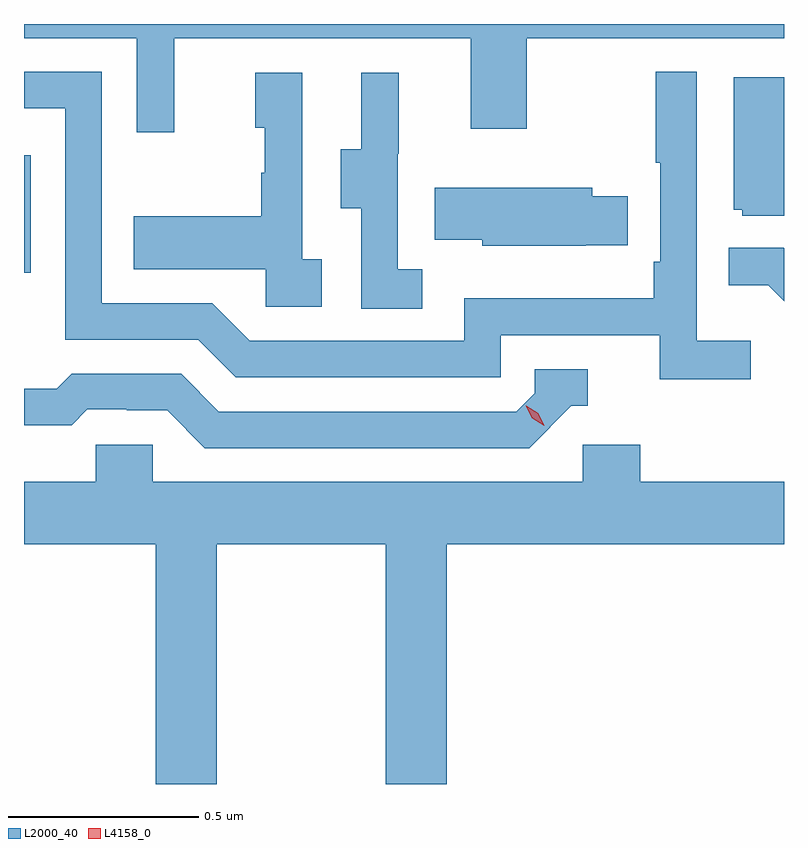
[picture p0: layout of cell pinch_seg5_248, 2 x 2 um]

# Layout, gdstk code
import gdstk
lib = gdstk.Library(unit=1e-6, precision=1e-09)
def R(c, l, rs):  # rectangles x0, y0, x1, y1
    for r in rs: c.add(gdstk.rectangle(r[:2], r[2:], *l))
def P(c, l, *ps):  # polygons
    for p in ps: c.add(gdstk.Polygon(p, *l))
L2000_40 = (2000, 40)
L4158_0 = (4158, 0)

pinch_seg5_248 = lib.new_cell('pinch_seg5_248')
R(pinch_seg5_248, L2000_40, [(938.478,914.751,938.496,915.06)])
P(pinch_seg5_248, L2000_40, [(938.873,915.368),(939.653,915.368),(939.653,915.129),(939.801,915.129),(939.801,915.368),(940.478,915.368),(940.478,915.405),(938.478,915.405),(938.478,915.368),(938.775,915.368),(938.775,915.12),(938.873,915.12)],
  [(940.39,914.572),(940.248,914.572),(940.248,915.28),(940.14,915.28),(940.14,915.04),(940.152,915.04),(940.152,914.779),(940.135,914.779),(940.135,914.683),(939.636,914.683),(939.636,914.571),(939.072,914.571),(938.973,914.67),(938.682,914.67),(938.682,915.279),(938.478,915.279),(938.478,915.183),(938.586,915.183),(938.586,914.574),(938.936,914.574),(939.035,914.475),(939.732,914.475),(939.732,914.586),(940.151,914.586),(940.151,914.47),(940.39,914.47)],
  [(939.262,914.786),(939.21,914.786),(939.21,915.277),(939.086,915.277),(939.086,915.132),(939.112,915.132),(939.112,915.014),(939.102,915.014),(939.102,914.899),(938.767,914.899),(938.767,914.759),(939.114,914.759),(939.114,914.661),(939.262,914.661)],
  [(939.526,914.759),(939.462,914.759),(939.462,915.063),(939.464,915.063),(939.464,915.277),(939.365,915.277),(939.365,915.075),(939.311,915.075),(939.311,914.92),(939.366,914.92),(939.366,914.656),(939.526,914.656)],
  [(940.478,915.265),(940.346,915.265),(940.346,914.916),(940.368,914.916),(940.368,914.901),(940.478,914.901)],
  [(939.956,914.823),(940.067,914.823),(940.067,914.952),(939.973,914.952),(939.973,914.974),(939.559,914.974),(939.559,914.837),(939.684,914.837),(939.684,914.822),(939.956,914.822)],
  [(940.478,914.815),(940.477,914.816),(940.333,914.816),(940.333,914.717),(940.437,914.717),(940.478,914.676)],
  [(939.918,914.4),(939.961,914.4),(939.961,914.496),(939.822,914.496),(939.822,914.433),(939.774,914.385),(938.991,914.385),(938.892,914.484),(938.603,914.484),(938.564,914.445),(938.478,914.445),(938.478,914.349),(938.603,914.349),(938.645,914.391),(938.748,914.391),(938.748,914.388),(938.855,914.388),(938.954,914.289),(939.807,914.289)],
  [(938.985,914.036),(939.43,914.036),(939.43,913.405),(939.59,913.405),(939.59,914.036),(940.478,914.036),(940.478,914.2),(940.1,914.2),(940.1,914.298),(939.948,914.298),(939.948,914.2),(938.817,914.2),(938.817,914.298),(938.667,914.298),(938.667,914.2),(938.478,914.2),(938.478,914.036),(938.825,914.036),(938.825,913.405),(938.985,913.405)])
P(pinch_seg5_248, L4158_0, [(939.847,914.348),(939.816,914.368),(939.799,914.401),(939.799,914.401),(939.8,914.401),(939.831,914.381),(939.847,914.349),(939.847,914.348)])

lib.write_gds('pinch_seg5_248.gds')
